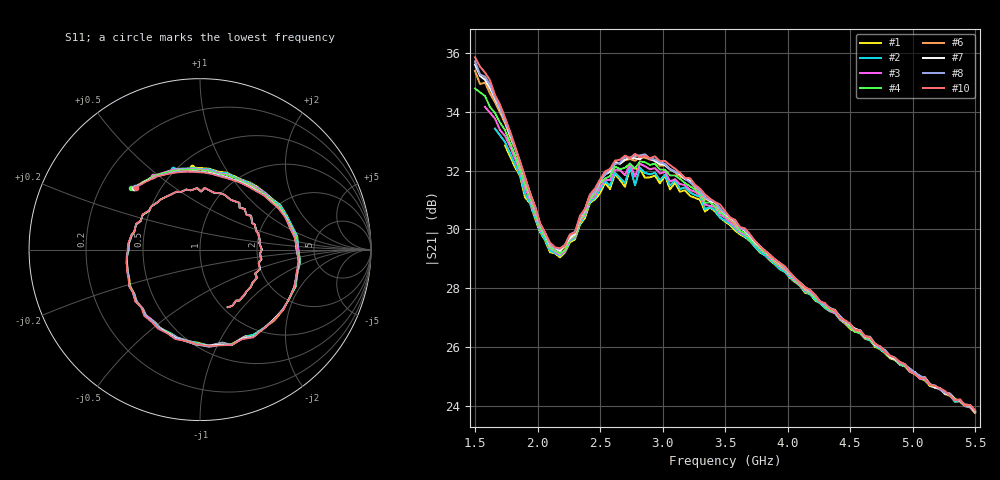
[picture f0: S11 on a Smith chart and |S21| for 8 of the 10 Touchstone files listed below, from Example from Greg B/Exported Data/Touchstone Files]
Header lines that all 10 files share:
! RsaToolbox (C) 2015 Rohde & Schwarz America
! Number of ports: 2
! Balanced ports?: No
# Hz S RI R 50
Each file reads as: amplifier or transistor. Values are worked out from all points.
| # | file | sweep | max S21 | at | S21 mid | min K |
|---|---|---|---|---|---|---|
| 1 | Pin -20.41 dBm.s2p | 1.74 GHz to 5.5 GHz | 32.9 dB | 1.74 GHz | 29.7 dB at 3.66 GHz | 1.68 |
| 2 | Pin -20.71 dBm.s2p | 1.66 GHz to 5.5 GHz | 33.4 dB | 1.66 GHz | 29.9 dB at 3.62 GHz | 1.68 |
| 3 | Pin -21.33 dBm.s2p | 1.58 GHz to 5.5 GHz | 34.2 dB | 1.58 GHz | 30.1 dB at 3.58 GHz | 1.63 |
| 4 | Pin -21.94 dBm.s2p | 1.5 GHz to 5.5 GHz | 34.8 dB | 1.5 GHz | 30.3 dB at 3.54 GHz | 1.61 |
| 5 | Pin -22.24 dBm.s2p | 1.5 GHz to 5.5 GHz | 35.0 dB | 1.5 GHz | 30.5 dB at 3.5 GHz | 1.60 |
| 6 | Pin -23.16 dBm.s2p | 1.5 GHz to 5.5 GHz | 35.4 dB | 1.5 GHz | 30.6 dB at 3.5 GHz | 1.58 |
| 7 | Pin -23.78 dBm.s2p | 1.5 GHz to 5.5 GHz | 35.6 dB | 1.5 GHz | 30.5 dB at 3.5 GHz | 1.56 |
| 8 | Pin -24.08 dBm.s2p | 1.5 GHz to 5.5 GHz | 35.7 dB | 1.5 GHz | 30.6 dB at 3.5 GHz | 1.55 |
| 9 | Pin -24.69 dBm.s2p | 1.5 GHz to 5.5 GHz | 35.8 dB | 1.5 GHz | 30.6 dB at 3.5 GHz | 1.56 |
| 10 | Pin -25 dBm.s2p | 1.5 GHz to 5.5 GHz | 35.9 dB | 1.5 GHz | 30.6 dB at 3.5 GHz | 1.54 |
